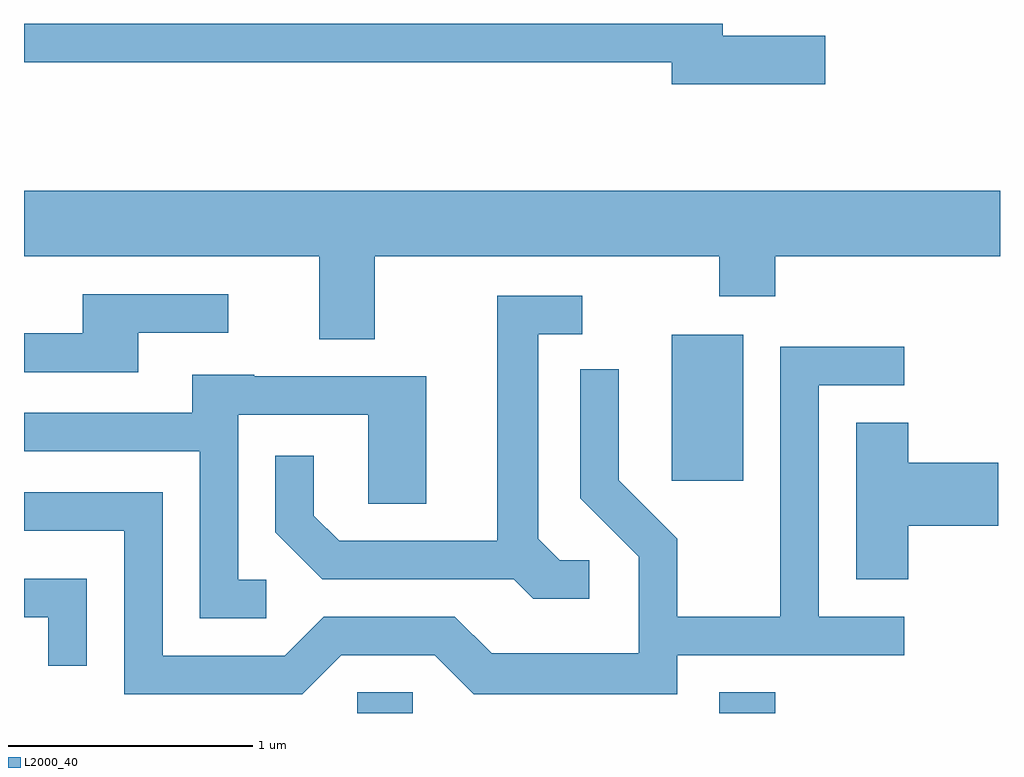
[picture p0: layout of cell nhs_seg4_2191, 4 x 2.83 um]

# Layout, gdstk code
import gdstk
lib = gdstk.Library(unit=1e-6, precision=1e-09)
def R(c, l, rs):  # rectangles x0, y0, x1, y1
    for r in rs: c.add(gdstk.rectangle(r[:2], r[2:], *l))
def P(c, l, *ps):  # polygons
    for p in ps: c.add(gdstk.Polygon(p, *l))
L2000_40 = (2000, 40)

nhs_seg4_2191 = lib.new_cell('nhs_seg4_2191')
R(nhs_seg4_2191, L2000_40, [(250.976,1283.982,251.204,1284.069), (252.461,1283.982,252.689,1284.069), (252.266,1284.936,252.559,1285.534)])
P(nhs_seg4_2191, L2000_40, [(252.894,1286.759),(252.474,1286.759),(252.474,1286.809),(249.611,1286.809),(249.611,1286.651),(252.266,1286.651),(252.266,1286.561),(252.894,1286.561)],
  [(251.049,1285.856),(252.461,1285.856),(252.461,1285.691),(252.689,1285.691),(252.689,1285.856),(253.611,1285.856),(253.611,1286.124),(249.611,1286.124),(249.611,1285.856),(250.821,1285.856),(250.821,1285.516),(251.049,1285.516)],
  [(250.079,1285.541),(250.448,1285.541),(250.448,1285.699),(249.851,1285.699),(249.851,1285.539),(249.611,1285.539),(249.611,1285.381),(250.079,1285.381)],
  [(251.928,1284.609),(251.807,1284.609),(251.719,1284.697),(251.719,1285.536),(251.898,1285.536),(251.898,1285.694),(251.551,1285.694),(251.551,1284.689),(250.902,1284.689),(250.799,1284.792),(250.799,1285.038),(250.641,1285.038),(250.641,1284.724),(250.834,1284.531),(251.619,1284.531),(251.699,1284.451),(251.928,1284.451)],
  [(250.912,1284.221),(251.294,1284.221),(251.454,1284.061),(252.289,1284.061),(252.289,1284.221),(253.218,1284.221),(253.218,1284.379),(252.869,1284.379),(252.869,1285.326),(253.218,1285.326),(253.218,1285.484),(252.711,1285.484),(252.711,1284.379),(252.289,1284.379),(252.289,1284.697),(252.049,1284.937),(252.049,1285.393),(251.891,1285.393),(251.891,1284.864),(252.131,1284.624),(252.131,1284.229),(251.527,1284.229),(251.377,1284.379),(250.839,1284.379),(250.679,1284.219),(250.179,1284.219),(250.179,1284.889),(249.611,1284.889),(249.611,1284.731),(250.021,1284.731),(250.021,1284.061),(250.752,1284.061)],
  [(250.603,1284.529),(250.489,1284.529),(250.489,1285.206),(251.021,1285.206),(251.021,1284.841),(251.259,1284.841),(251.259,1285.364),(250.555,1285.364),(250.555,1285.369),(250.301,1285.369),(250.301,1285.214),(249.611,1285.214),(249.611,1285.056),(250.331,1285.056),(250.331,1284.371),(250.603,1284.371)],
  [(253.234,1284.751),(253.604,1284.751),(253.604,1285.009),(253.234,1285.009),(253.234,1285.174),(253.021,1285.174),(253.021,1284.531),(253.234,1284.531)],
  [(249.869,1284.534),(249.611,1284.534),(249.611,1284.376),(249.711,1284.376),(249.711,1284.178),(249.869,1284.178)])

lib.write_gds('nhs_seg4_2191.gds')
